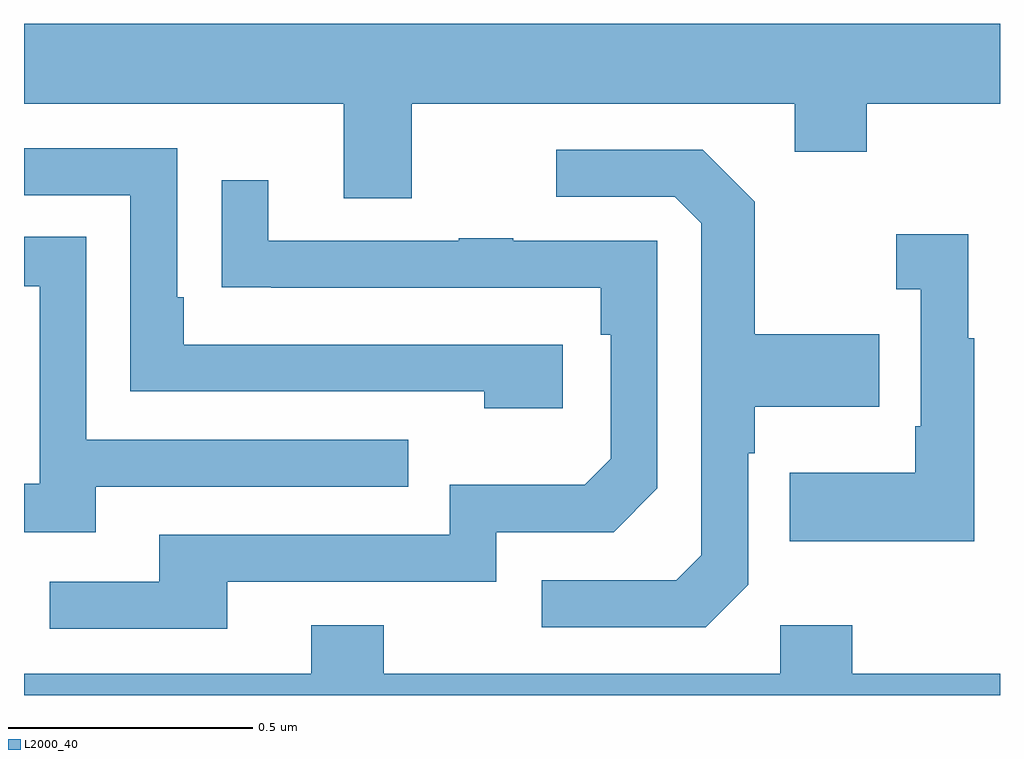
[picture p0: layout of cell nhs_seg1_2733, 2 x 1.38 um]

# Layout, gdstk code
import gdstk
lib = gdstk.Library(unit=1e-6, precision=1e-09)
def P(c, l, *ps):  # polygons
    for p in ps: c.add(gdstk.Polygon(p, *l))
L2000_40 = (2000, 40)

nhs_seg1_2733 = lib.new_cell('nhs_seg1_2733')
P(nhs_seg1_2733, L2000_40, [(145.795,538.412),(146.579,538.412),(146.579,538.313),(146.727,538.313),(146.727,538.412),(147,538.412),(147,538.576),(145,538.576),(145,538.412),(145.655,538.412),(145.655,538.218),(145.795,538.218)],
  [(146.104,537.918),(145.327,537.918),(145.327,538.015),(145.314,538.015),(145.314,538.32),(145,538.32),(145,538.224),(145.218,538.224),(145.218,537.822),(145.943,537.822),(145.943,537.788),(146.104,537.788)],
  [(146.484,537.426),(146.484,537.695),(146.497,537.695),(146.497,537.791),(146.753,537.791),(146.753,537.939),(146.497,537.939),(146.497,538.211),(146.391,538.317),(146.091,538.317),(146.091,538.221),(146.334,538.221),(146.388,538.167),(146.388,537.486),(146.337,537.435),(146.061,537.435),(146.061,537.339),(146.397,537.339)],
  [(145.417,537.432),(145.968,537.432),(145.968,537.534),(146.208,537.534),(146.298,537.624),(146.298,538.131),(146.003,538.131),(146.003,538.136),(145.891,538.136),(145.891,538.131),(145.501,538.131),(145.501,538.255),(145.405,538.255),(145.405,538.036),(145.507,538.036),(145.507,538.035),(146.182,538.035),(146.182,537.938),(146.202,537.938),(146.202,537.684),(146.149,537.631),(145.872,537.631),(145.872,537.528),(145.277,537.528),(145.277,537.432),(145.053,537.432),(145.053,537.336),(145.417,537.336)],
  [(146.947,537.931),(146.935,537.931),(146.935,538.144),(146.787,538.144),(146.787,538.031),(146.838,538.031),(146.838,537.751),(146.826,537.751),(146.826,537.655),(146.569,537.655),(146.569,537.515),(146.947,537.515)],
  [(145.147,537.627),(145.787,537.627),(145.787,537.723),(145.128,537.723),(145.128,538.139),(145,538.139),(145,538.038),(145.032,538.038),(145.032,537.633),(145,537.633),(145,537.533),(145.147,537.533)],
  [(147,537.244),(146.697,537.244),(146.697,537.343),(146.55,537.343),(146.55,537.244),(145.737,537.244),(145.737,537.343),(145.589,537.343),(145.589,537.244),(145,537.244),(145,537.199),(147,537.199)])

lib.write_gds('nhs_seg1_2733.gds')
